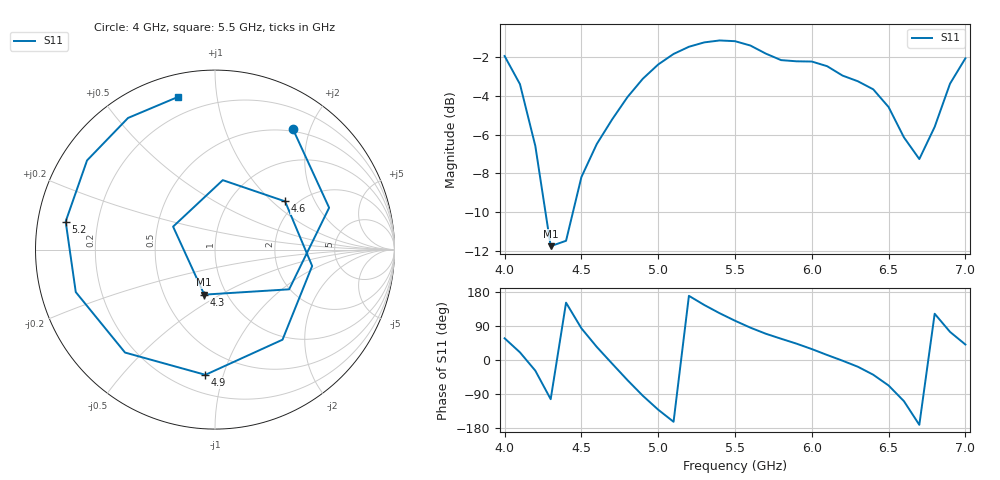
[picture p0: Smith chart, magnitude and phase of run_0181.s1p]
! Touchstone file exported from HFSS 2024.2.0
!  File:  C:/Users/wsak9/Desktop/Sim Fast/Widenad Patch/WP_AI_V1_sweep.aedt
!  Generated:  10:30:25 PM Oct 13, 2026
!  Design:  A1_model
!  Project:  WP_AI_V1_sweep
!  Setup:  Setup1
!  Solution:  Sweep
! Variables:
!  Air_gap = 2.44mm
!  Curve_Amp1 = 3.06
!  Curve_len1 = 1
!  Curve_pos = 12.365mm
!  Extra = 3.1mm
!  H_sub = 0.79mm
!  L_Patch = 20.73mm
!  L_Patch1 = 16.19mm
!  Sx = 0.41mm
!  Sy = 3.76mm
!  WS = 1.47mm
!  W_Patch = 20.08mm
!  W_Patch1 = 13.09mm
!Data is not renormalized
# GHz S MA
! Terminal data exported
! Port[1] = 1
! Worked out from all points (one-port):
!   31 points, 4 GHz to 7 GHz, reference per port
!   lowest |S11| = -11.8 dB at 4.3 GHz (marker M1), VSWR 1.70
!   |S11| at or under -10 dB: 4.266 GHz to 4.445 GHz (179.4 MHz wide, 4.12 % of centre)
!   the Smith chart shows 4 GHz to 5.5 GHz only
!   S11 on the Smith chart (normalised r, x): 4 GHz: 0.46, +1.74; 4.3 GHz: 0.79, -0.42; 4.6 GHz: 1.75, +1.21; 4.9 GHz: 0.32, -0.87; 5.2 GHz: 0.08, +0.09; 5.5 GHz: 0.11, +0.78
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4  0.801 57.3
4.1  0.6773 20.1
4.2  0.4686 -28.2
4.3  0.2579 -103.4
4.4  0.2663 151.3
4.5  0.3894 83.6
4.6  0.474 34.5
4.7  0.5489 -9.6
4.8  0.6273 -53.2
4.9  0.6997 -94.4
5  0.7618 -131.1
5.1  0.811 -163.0
5.2  0.8466 169.4
5.3  0.869 145.1
5.4  0.879 123.4
5.5  0.8752 103.6
5.6  0.8529 85.4
5.7  0.8129 69.4
5.9  0.7763 43.2
6.1  0.754 13.2
6.3  0.6892 -17.8
6.4  0.6569 -38.9
6.5  0.591 -67.3
6.6  0.4932 -108.7
6.7  0.4334 -171.1
6.8  0.5251 122.0
6.9  0.6794 74.2
7  0.7902 40.9
